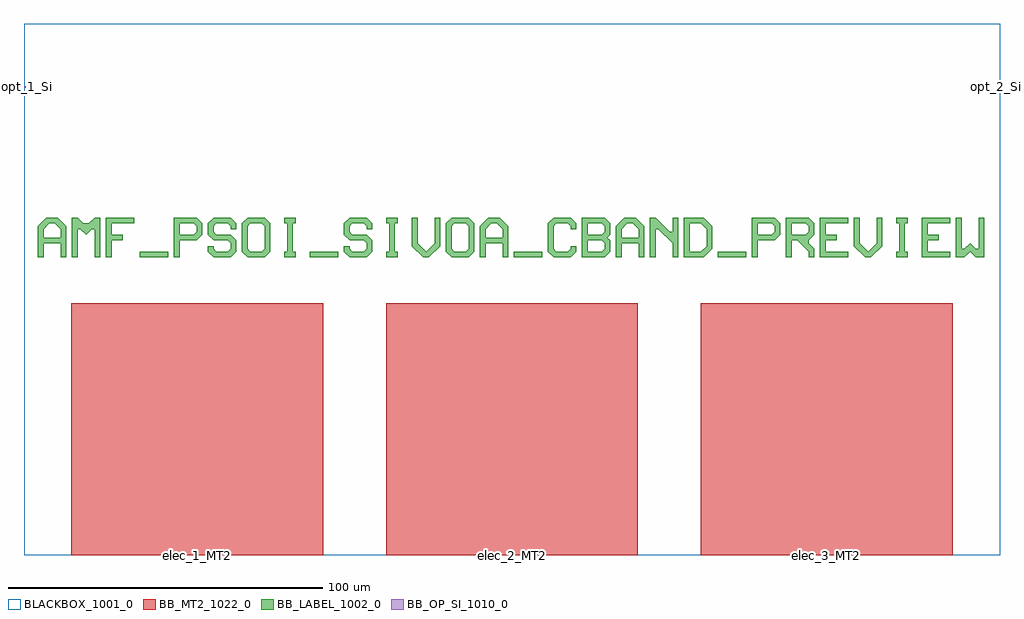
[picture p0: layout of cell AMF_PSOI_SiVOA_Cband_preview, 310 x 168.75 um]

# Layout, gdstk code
import gdstk
lib = gdstk.Library(unit=1e-6, precision=1e-09)
def R(c, l, rs):  # rectangles x0, y0, x1, y1
    for r in rs: c.add(gdstk.rectangle(r[:2], r[2:], *l))
def A(c, l, x, y, w, h, nx, ny, dx, dy):  # array of equal rectangles
    R(c, l, [(x+i*dx, y+j*dy, x+i*dx+w, y+j*dy+h) for i in range(nx) for j in range(ny)])
def P(c, l, *ps):  # polygons
    for p in ps: c.add(gdstk.Polygon(p, *l))
BLACKBOX_1001_0 = (1001, 0)
BB_LABEL_1002_0 = (1002, 0)
BB_OP_SI_1010_0 = (1010, 0)
BB_MT2_1022_0 = (1022, 0)

amf_psoi_sivoa_cband_pre = lib.new_cell('AMF_PSOI_SiVOA_Cband_preview')
R(amf_psoi_sivoa_cband_pre, BLACKBOX_1001_0, [(0,-148.75,310,20)])
A(amf_psoi_sivoa_cband_pre, BB_LABEL_1002_0, 90.806, -54.201, 9, 1.8, 3, 1, 64.8, 0)
R(amf_psoi_sivoa_cband_pre, BB_LABEL_1002_0, [(36.806,-54.201,45.806,-52.401)])
P(amf_psoi_sivoa_cband_pre, BB_LABEL_1002_0, [(4.406,-54.201),(4.406,-44.301),(7.106,-41.601),(10.706,-41.601),(12.506,-43.401),(8.006,-43.401),(6.206,-45.201),(6.206,-47.901),(11.606,-47.901),(11.606,-45.201),(9.806,-43.401),(12.506,-43.401),(13.406,-44.301),(13.406,-54.201),(11.606,-54.201),(11.606,-49.701),(6.206,-49.701),(6.206,-54.201)],
  [(15.206,-54.201),(15.206,-41.601),(17.006,-41.601),(18.806,-43.401),(20.606,-43.401),(22.406,-41.601),(24.206,-41.601),(24.206,-54.201),(22.406,-54.201),(22.406,-45.201),(21.506,-45.201),(19.706,-47.001),(17.906,-45.201),(17.006,-45.201),(17.006,-54.201)],
  [(26.006,-54.201),(26.006,-41.601),(35.006,-41.601),(35.006,-43.401),(27.806,-43.401),(27.806,-47.001),(31.406,-47.001),(31.406,-48.801),(27.806,-48.801),(27.806,-54.201)],
  [(47.606,-54.201),(47.606,-41.601),(54.806,-41.601),(56.606,-43.401),(56.606,-47.001),(54.806,-48.801),(49.406,-48.801),(49.406,-47.001),(53.906,-47.001),(54.806,-46.101),(54.806,-44.301),(53.906,-43.401),(49.406,-43.401),(49.406,-54.201)],
  [(60.206,-54.201),(58.406,-52.401),(58.406,-50.601),(60.206,-50.601),(60.206,-51.501),(61.106,-52.401),(64.706,-52.401),(65.606,-51.501),(65.606,-49.701),(64.706,-48.801),(60.206,-48.801),(58.406,-47.001),(58.406,-43.401),(60.206,-41.601),(65.606,-41.601),(67.406,-43.401),(67.406,-45.201),(65.606,-45.201),(65.606,-44.301),(64.706,-43.401),(61.106,-43.401),(60.206,-44.301),(60.206,-46.101),(61.106,-47.001),(65.606,-47.001),(67.406,-48.801),(67.406,-52.401),(65.606,-54.201)],
  [(71.006,-54.201),(69.206,-52.401),(69.206,-43.401),(71.006,-41.601),(76.406,-41.601),(78.206,-43.401),(78.206,-47.901),(76.406,-47.901),(76.406,-44.301),(75.506,-43.401),(71.906,-43.401),(71.006,-44.301),(71.006,-51.501),(71.906,-52.401),(75.506,-52.401),(76.406,-51.501),(76.406,-47.901),(78.206,-47.901),(78.206,-52.401),(76.406,-54.201)],
  [(82.706,-54.201),(82.706,-52.401),(83.606,-52.401),(83.606,-43.401),(82.706,-43.401),(82.706,-41.601),(86.306,-41.601),(86.306,-43.401),(85.406,-43.401),(85.406,-52.401),(86.306,-52.401),(86.306,-54.201)],
  [(103.406,-54.201),(101.606,-52.401),(101.606,-50.601),(103.406,-50.601),(103.406,-51.501),(104.306,-52.401),(107.906,-52.401),(108.806,-51.501),(108.806,-49.701),(107.906,-48.801),(103.406,-48.801),(101.606,-47.001),(101.606,-43.401),(103.406,-41.601),(108.806,-41.601),(110.606,-43.401),(110.606,-45.201),(108.806,-45.201),(108.806,-44.301),(107.906,-43.401),(104.306,-43.401),(103.406,-44.301),(103.406,-46.101),(104.306,-47.001),(108.806,-47.001),(110.606,-48.801),(110.606,-52.401),(108.806,-54.201)],
  [(115.106,-54.201),(115.106,-52.401),(116.006,-52.401),(116.006,-43.401),(115.106,-43.401),(115.106,-41.601),(118.706,-41.601),(118.706,-43.401),(117.806,-43.401),(117.806,-52.401),(118.706,-52.401),(118.706,-54.201)],
  [(126.806,-54.201),(123.206,-50.601),(123.206,-41.601),(125.006,-41.601),(125.006,-49.701),(127.706,-52.401),(130.406,-49.701),(130.406,-41.601),(132.206,-41.601),(132.206,-50.601),(128.606,-54.201)],
  [(135.806,-54.201),(134.006,-52.401),(134.006,-43.401),(135.806,-41.601),(141.206,-41.601),(143.006,-43.401),(143.006,-47.901),(141.206,-47.901),(141.206,-44.301),(140.306,-43.401),(136.706,-43.401),(135.806,-44.301),(135.806,-51.501),(136.706,-52.401),(140.306,-52.401),(141.206,-51.501),(141.206,-47.901),(143.006,-47.901),(143.006,-52.401),(141.206,-54.201)],
  [(144.806,-54.201),(144.806,-44.301),(147.506,-41.601),(151.106,-41.601),(152.906,-43.401),(148.406,-43.401),(146.606,-45.201),(146.606,-47.901),(152.006,-47.901),(152.006,-45.201),(150.206,-43.401),(152.906,-43.401),(153.806,-44.301),(153.806,-54.201),(152.006,-54.201),(152.006,-49.701),(146.606,-49.701),(146.606,-54.201)],
  [(168.206,-54.201),(166.406,-52.401),(166.406,-43.401),(168.206,-41.601),(173.606,-41.601),(175.406,-43.401),(175.406,-45.201),(173.606,-45.201),(173.606,-44.301),(172.706,-43.401),(169.106,-43.401),(168.206,-44.301),(168.206,-51.501),(169.106,-52.401),(172.706,-52.401),(173.606,-51.501),(173.606,-50.601),(175.406,-50.601),(175.406,-52.401),(173.606,-54.201)],
  [(177.206,-54.201),(177.206,-41.601),(184.406,-41.601),(186.206,-43.401),(179.006,-43.401),(179.006,-47.001),(183.506,-47.001),(184.406,-46.101),(184.406,-44.301),(183.506,-43.401),(186.206,-43.401),(186.206,-47.001),(185.306,-47.901),(186.206,-48.801),(179.006,-48.801),(179.006,-52.401),(183.506,-52.401),(184.406,-51.501),(184.406,-49.701),(183.506,-48.801),(186.206,-48.801),(186.206,-52.401),(184.406,-54.201)],
  [(188.006,-54.201),(188.006,-44.301),(190.706,-41.601),(194.306,-41.601),(196.106,-43.401),(191.606,-43.401),(189.806,-45.201),(189.806,-47.901),(195.206,-47.901),(195.206,-45.201),(193.406,-43.401),(196.106,-43.401),(197.006,-44.301),(197.006,-54.201),(195.206,-54.201),(195.206,-49.701),(189.806,-49.701),(189.806,-54.201)],
  [(198.806,-54.201),(198.806,-41.601),(200.606,-41.601),(205.106,-46.101),(206.006,-46.101),(206.006,-41.601),(207.806,-41.601),(207.806,-54.201),(206.006,-54.201),(206.006,-49.701),(201.506,-45.201),(200.606,-45.201),(200.606,-54.201)],
  [(209.606,-54.201),(209.606,-41.601),(215.906,-41.601),(217.706,-43.401),(211.406,-43.401),(211.406,-52.401),(215.006,-52.401),(216.806,-50.601),(216.806,-45.201),(215.006,-43.401),(217.706,-43.401),(218.606,-44.301),(218.606,-51.501),(215.906,-54.201)],
  [(231.206,-54.201),(231.206,-41.601),(238.406,-41.601),(240.206,-43.401),(240.206,-47.001),(238.406,-48.801),(233.006,-48.801),(233.006,-47.001),(237.506,-47.001),(238.406,-46.101),(238.406,-44.301),(237.506,-43.401),(233.006,-43.401),(233.006,-54.201)],
  [(242.006,-54.201),(242.006,-41.601),(249.206,-41.601),(251.006,-43.401),(243.806,-43.401),(243.806,-47.001),(248.306,-47.001),(249.206,-46.101),(249.206,-44.301),(248.306,-43.401),(251.006,-43.401),(251.006,-47.001),(249.206,-48.801),(249.206,-49.701),(251.006,-51.501),(251.006,-54.201),(249.206,-54.201),(249.206,-52.401),(245.606,-48.801),(243.806,-48.801),(243.806,-54.201)],
  [(252.806,-54.201),(252.806,-41.601),(261.806,-41.601),(261.806,-43.401),(254.606,-43.401),(254.606,-47.001),(258.206,-47.001),(258.206,-48.801),(254.606,-48.801),(254.606,-52.401),(261.806,-52.401),(261.806,-54.201)],
  [(267.206,-54.201),(263.606,-50.601),(263.606,-41.601),(265.406,-41.601),(265.406,-49.701),(268.106,-52.401),(270.806,-49.701),(270.806,-41.601),(272.606,-41.601),(272.606,-50.601),(269.006,-54.201)],
  [(277.106,-54.201),(277.106,-52.401),(278.006,-52.401),(278.006,-43.401),(277.106,-43.401),(277.106,-41.601),(280.706,-41.601),(280.706,-43.401),(279.806,-43.401),(279.806,-52.401),(280.706,-52.401),(280.706,-54.201)],
  [(285.206,-54.201),(285.206,-41.601),(294.206,-41.601),(294.206,-43.401),(287.006,-43.401),(287.006,-47.001),(290.606,-47.001),(290.606,-48.801),(287.006,-48.801),(287.006,-52.401),(294.206,-52.401),(294.206,-54.201)],
  [(296.006,-54.201),(296.006,-41.601),(297.806,-41.601),(297.806,-51.501),(298.706,-51.501),(300.506,-49.701),(302.306,-51.501),(303.206,-51.501),(303.206,-41.601),(305.006,-41.601),(305.006,-54.201),(302.306,-54.201),(300.506,-52.401),(298.706,-54.201)])
R(amf_psoi_sivoa_cband_pre, BB_OP_SI_1010_0, [(0,-0.25,0.5,0.25), (309.5,-0.25,310,0.25)])
A(amf_psoi_sivoa_cband_pre, BB_MT2_1022_0, 15, -148.75, 80, 80, 3, 1, 100, 0)
amf_psoi_sivoa_cband_pre.add(gdstk.Label('opt_2_Si', (310,0), layer=1010, texttype=0))
amf_psoi_sivoa_cband_pre.add(gdstk.Label('opt_1_Si', (0,0), layer=1010, texttype=0))
amf_psoi_sivoa_cband_pre.add(gdstk.Label('elec_1_MT2', (55,-148.75), layer=1022, texttype=0))
amf_psoi_sivoa_cband_pre.add(gdstk.Label('elec_2_MT2', (155,-148.75), layer=1022, texttype=0))
amf_psoi_sivoa_cband_pre.add(gdstk.Label('elec_3_MT2', (255,-148.75), layer=1022, texttype=0))

lib.write_gds('AMF_PSOI_SiVOA_Cband_preview.gds')
